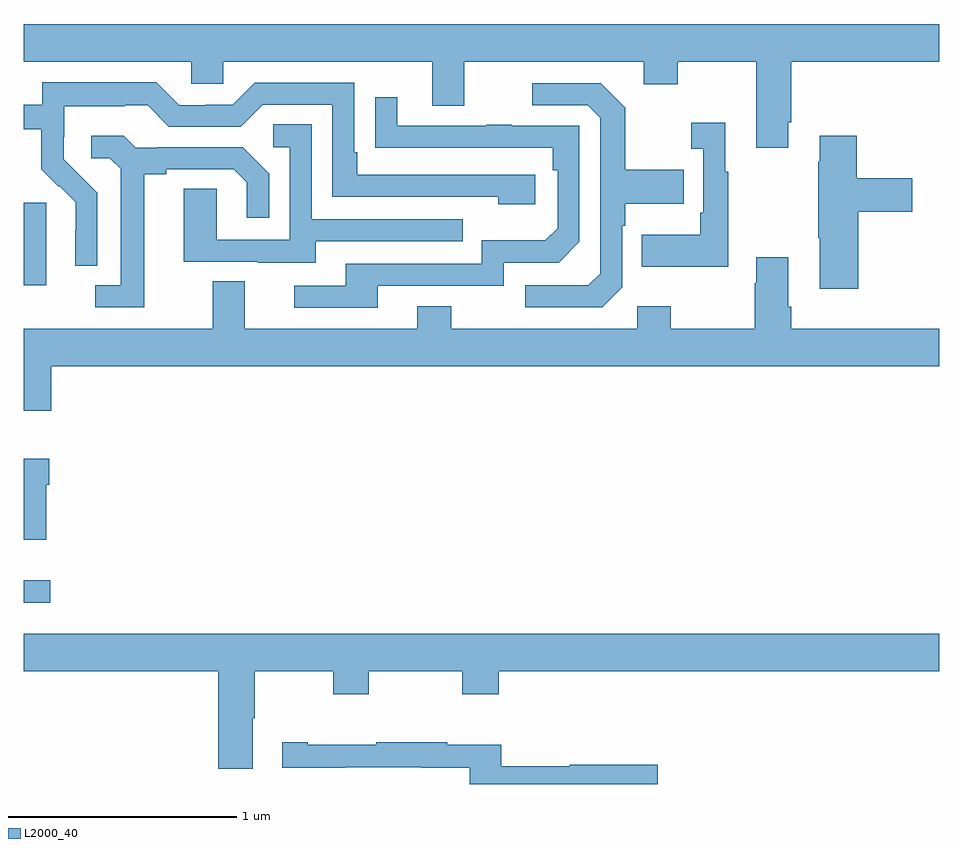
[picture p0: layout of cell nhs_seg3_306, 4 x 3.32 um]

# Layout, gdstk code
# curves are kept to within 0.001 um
import gdstk
lib = gdstk.Library(unit=1e-6, precision=1e-09)
def R(c, l, rs):  # rectangles x0, y0, x1, y1
    for r in rs: c.add(gdstk.rectangle(r[:2], r[2:], *l))
def P(c, l, *ps):  # polygons
    for p in ps: c.add(gdstk.Polygon(p, *l))
L2000_40 = (2000, 40)

nhs_seg3_306 = lib.new_cell('nhs_seg3_306')
R(nhs_seg3_306, L2000_40, [(125,725.192,125.116,725.289), (125,726.578,125.098,726.939)])
P(nhs_seg3_306, L2000_40, [(128.341,727.291),(128.354,727.291),(128.354,727.556),(129,727.556),(129,727.72),(125,727.72),(125,727.556),(125.733,727.556),(125.733,727.458),(125.871,727.458),(125.871,727.556),(126.785,727.556),(126.785,727.362),(126.925,727.362),(126.925,727.556),(127.709,727.556),(127.709,727.457),(127.857,727.457),(127.857,727.556),(128.201,727.556),(128.201,727.179),(128.341,727.179)],
  [(125.322,726.982),(125.176,727.13),(125.176,727.227),(125.178,727.227),(125.178,727.361),(125.441,727.361),(125.441,727.365),(125.541,727.365),(125.634,727.272),(125.949,727.272),(126.045,727.368),(126.348,727.368),(126.348,726.966),(127.073,726.966),(127.073,726.932),(127.234,726.932),(127.234,727.062),(126.457,727.062),(126.457,727.159),(126.444,727.159),(126.444,727.464),(126.009,727.464),(125.913,727.368),(125.795,727.368),(125.795,727.365),(125.679,727.365),(125.579,727.465),(125.082,727.465),(125.082,727.368),(125,727.368),(125,727.26),(125.077,727.26),(125.077,727.085),(125.154,727.008),(125.157,727.011),(125.228,726.941),(125.228,726.818),(125.226,726.818),(125.226,726.664),(125.322,726.664)],
  [(127.614,726.57),(127.614,726.839),(127.627,726.839),(127.627,726.935),(127.883,726.935),(127.883,727.083),(127.627,727.083),(127.627,727.355),(127.521,727.461),(127.221,727.461),(127.221,727.365),(127.464,727.365),(127.518,727.311),(127.518,726.63),(127.467,726.579),(127.191,726.579),(127.191,726.483),(127.527,726.483)],
  [(126.547,726.576),(127.098,726.576),(127.098,726.678),(127.338,726.678),(127.428,726.768),(127.428,727.275),(127.133,727.275),(127.133,727.28),(127.021,727.28),(127.021,727.275),(126.631,727.275),(126.631,727.399),(126.535,727.399),(126.535,727.18),(127.312,727.179),(127.312,727.082),(127.332,727.082),(127.332,726.828),(127.279,726.775),(127.002,726.775),(127.002,726.672),(126.407,726.672),(126.407,726.576),(126.183,726.576),(126.183,726.48),(126.547,726.48)],
  [(128.077,727.075),(128.065,727.075),(128.065,727.288),(127.917,727.288),(127.917,727.175),(127.968,727.175),(127.968,726.895),(127.956,726.895),(127.956,726.799),(127.699,726.799),(127.699,726.659),(128.077,726.659)],
  [(126.277,726.771),(126.917,726.771),(126.917,726.867),(126.258,726.867),(126.258,727.283),(126.09,727.283),(126.09,727.182),(126.162,727.182),(126.162,726.777),(125.844,726.777),(125.844,727.001),(125.699,727.001),(125.699,726.681),(126.023,726.681),(126.023,726.677),(126.277,726.677)],
  [(125.527,727.064),(125.623,727.064),(125.623,727.086),(125.918,727.086),(125.975,727.029),(125.975,726.873),(126.072,726.873),(126.072,727.066),(125.956,727.182),(125.584,727.182),(125.584,727.179),(125.49,727.179),(125.438,727.231),(125.295,727.231),(125.295,727.134),(125.376,727.134),(125.423,727.087),(125.423,726.579),(125.313,726.579),(125.313,726.483),(125.527,726.483)],
  [(128.645,726.899),(128.881,726.899),(128.881,727.046),(128.64,727.046),(128.64,727.231),(128.477,727.231),(128.477,727.118),(128.47,727.118),(128.47,726.787),(128.477,726.787),(128.477,726.564),(128.645,726.564)],
  [(129,726.388),(128.354,726.388),(128.354,726.484),(128.341,726.484),(128.341,726.7),(128.201,726.7),(128.201,726.587),(128.194,726.587),(128.194,726.388),(127.827,726.388),(127.827,726.487),(127.68,726.487),(127.68,726.388),(126.867,726.388),(126.867,726.487),(126.719,726.487),(126.719,726.388),(125.965,726.388),(125.965,726.596),(125.825,726.596),(125.825,726.388),(125,726.388),(125,726.03),(125.12,726.03),(125.12,726.224),(129,726.224)],
  [(125.098,725.708),(125.111,725.708),(125.111,725.821),(125,725.821),(125,725.468),(125.098,725.468)],
  [(126.001,724.688),(126.009,724.688),(126.009,724.892),(126.352,724.892),(126.352,724.793),(126.507,724.793),(126.507,724.892),(126.916,724.892),(126.916,724.793),(127.076,724.793),(127.076,724.892),(129,724.892),(129,725.056),(125,725.056),(125,724.892),(125.849,724.892),(125.849,724.467),(126.001,724.467)],
  [(127.771,724.485),(127.386,724.485),(127.386,724.477),(127.086,724.477),(127.086,724.572),(126.851,724.572),(126.851,724.582),(126.541,724.582),(126.541,724.572),(126.241,724.572),(126.241,724.582),(126.129,724.582),(126.129,724.472),(126.404,724.472),(126.404,724.473),(126.738,724.473),(126.738,724.472),(126.948,724.472),(126.948,724.4),(127.771,724.4)])

lib.write_gds('nhs_seg3_306.gds')
